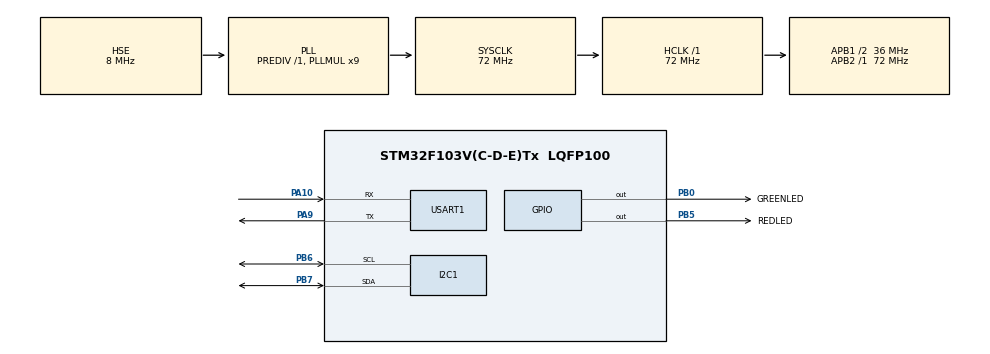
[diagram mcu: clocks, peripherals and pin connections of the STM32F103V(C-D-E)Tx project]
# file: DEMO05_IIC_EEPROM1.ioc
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I2C1.DutyCycle=I2C_DUTYCYCLE_16_9
I2C1.I2C_Mode=I2C_Fast
Mcu.Family=STM32F1
Mcu.Name=STM32F103V(C-D-E)Tx
Mcu.Package=LQFP100
NVIC.PriorityGroup=NVIC_PRIORITYGROUP_4
NVIC.USART1_IRQn=true\:1\:0\:true\:false\:true\:true\:true\:true
OSC_IN.Mode=HSE-External-Oscillator
OSC_IN.Signal=RCC_OSC_IN
OSC_OUT.Mode=HSE-External-Oscillator
OSC_OUT.Signal=RCC_OSC_OUT
PA10.Mode=Asynchronous
PA10.Signal=USART1_RX
PA13.Mode=Serial_Wire
PA13.Signal=SYS_JTMS-SWDIO
PA14.Mode=Serial_Wire
PA14.Signal=SYS_JTCK-SWCLK
PA9.Mode=Asynchronous
PA9.Signal=USART1_TX
PB0.GPIO_Label=GREENLED
PB0.GPIO_PuPd=GPIO_PULLUP
PB0.GPIO_Speed=GPIO_SPEED_FREQ_HIGH
PB0.Signal=GPIO_Output
PB5.GPIO_Label=REDLED
PB5.GPIO_PuPd=GPIO_PULLUP
PB5.GPIO_Speed=GPIO_SPEED_FREQ_HIGH
PB5.Signal=GPIO_Output
PB6.Mode=I2C
PB6.Signal=I2C1_SCL
PB7.Mode=I2C
PB7.Signal=I2C1_SDA
ProjectManager.HeapSize=0x200
ProjectManager.StackSize=0x400
ProjectManager.TargetToolchain=SW4STM32
RCC.AHBFreq_Value=72000000
RCC.APB1CLKDivider=RCC_HCLK_DIV2
RCC.APB1Freq_Value=36000000
RCC.APB1TimFreq_Value=72000000
RCC.APB2Freq_Value=72000000
RCC.APB2TimFreq_Value=72000000
RCC.HCLKFreq_Value=72000000
RCC.PLLMUL=RCC_PLL_MUL9
RCC.PLLSourceVirtual=RCC_PLLSOURCE_HSE
RCC.SYSCLKFreq_VALUE=72000000
RCC.SYSCLKSource=RCC_SYSCLKSOURCE_PLLCLK
RCC.USBFreq_Value=72000000
USART1.VirtualMode=VM_ASYNC
board=custom

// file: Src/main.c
/* USER CODE BEGIN Header */
/**
  ******************************************************************************
  * @file           : main.c
  * @brief          : Main program body
  ******************************************************************************
  * @attention
  *
  * Copyright (c) 2023 STMicroelectronics.
  * All rights reserved.
  *
  * This software is licensed under terms that can be found in the LICENSE file
  * in the root directory of this software component.
  * If no LICENSE file comes with this software, it is provided AS-IS.
  *
  ******************************************************************************
  */
/* USER CODE END Header */
#include "main.h"
#include "i2c.h"
#include "usart.h"
#include "gpio.h"

/* USER CODE BEGIN PD */
#define  DATA_Size                256
#define  EEP_Firstpage           0x00

/* USER CODE END PD */

/* USER CODE BEGIN PV */
uint8_t I2c_Buf_Write[DATA_Size];
uint8_t I2c_Buf_Read[DATA_Size];

/* USER CODE END PV */

void SystemClock_Config(void);

/* USER CODE BEGIN 0 */
uint8_t I2C_Test(void);
/* USER CODE END 0 */

int main(void) {

    /* MCU Configuration--------------------------------------------------------*/

    /* Reset of all peripherals, Initializes the Flash interface and the Systick. */
    HAL_Init();

    /* Configure the system clock */
    SystemClock_Config();

    /* Initialize all configured peripherals */
    MX_GPIO_Init();
    MX_I2C1_Init();
    MX_USART1_UART_Init();
    /* USER CODE BEGIN 2 */
    printf("\r\n 欢迎使用野火  STM32 F103 开发板。\r\n");
    printf("\r\n 这是一个I2C外设(AT24C02)读写测试例程 \r\n");

    if (I2C_Test() == 1) {
        HAL_GPIO_WritePin(GPIOB, GREENLED_Pin, GPIO_PIN_RESET);
    } else {
        HAL_GPIO_WritePin(GPIOB, REDLED_Pin, GPIO_PIN_RESET);
    }
    /* USER CODE END 2 */

    /* Infinite loop */
    while (1) {

    }
}

void SystemClock_Config(void) {
    RCC_OscInitTypeDef RCC_OscInitStruct = {0};
    RCC_ClkInitTypeDef RCC_ClkInitStruct = {0};

    /** Initializes the RCC Oscillators according to the specified parameters
    * in the RCC_OscInitTypeDef structure.
    */
    RCC_OscInitStruct.OscillatorType = RCC_OSCILLATORTYPE_HSE;
    RCC_OscInitStruct.HSEState = RCC_HSE_ON;
    RCC_OscInitStruct.HSEPredivValue = RCC_HSE_PREDIV_DIV1;
    RCC_OscInitStruct.HSIState = RCC_HSI_ON;
    RCC_OscInitStruct.PLL.PLLState = RCC_PLL_ON;
    RCC_OscInitStruct.PLL.PLLSource = RCC_PLLSOURCE_HSE;
    RCC_OscInitStruct.PLL.PLLMUL = RCC_PLL_MUL9;
    if (HAL_RCC_OscConfig(&RCC_OscInitStruct) != HAL_OK) {
        Error_Handler();
    }

    /** Initializes the CPU, AHB and APB buses clocks
    */
    RCC_ClkInitStruct.ClockType = RCC_CLOCKTYPE_HCLK | RCC_CLOCKTYPE_SYSCLK | RCC_CLOCKTYPE_PCLK1 | RCC_CLOCKTYPE_PCLK2;
    RCC_ClkInitStruct.SYSCLKSource = RCC_SYSCLKSOURCE_PLLCLK;
    RCC_ClkInitStruct.AHBCLKDivider = RCC_SYSCLK_DIV1;
    RCC_ClkInitStruct.APB1CLKDivider = RCC_HCLK_DIV2;
    RCC_ClkInitStruct.APB2CLKDivider = RCC_HCLK_DIV1;

    if (HAL_RCC_ClockConfig(&RCC_ClkInitStruct, FLASH_LATENCY_2) != HAL_OK) {
        Error_Handler();
    }
}

/* USER CODE BEGIN 4 */
/**
  * @brief  I2C(AT24C02)读写测试
  * @param  无
  * @retval 正常返回1 ，不正常返回0
  */
uint8_t I2C_Test(void) {
    uint16_t i;

    EEPROM_INFO("写入的数据");
    //填充缓冲
    for (i = 0; i < DATA_Size; i++) {
        I2c_Buf_Write[i] = i;
        //printf("0x%02X ", I2c_Buf_Write[i]);
        printf("0x%02X ", I2c_Buf_Write[i]);
        if (i % 16 == 15)
            printf("\n\r");
    }

    //将I2c_Buf_Write中顺序递增的数据写入EERPOM中
    I2C_EE_BufferWrite(I2c_Buf_Write, EEP_Firstpage, DATA_Size);

    EEPROM_INFO("读出的数据");

    //将EEPROM读出数据顺序保持到I2c_Buf_Read中
    I2C_EE_BufferRead(I2c_Buf_Read, EEP_Firstpage, DATA_Size);

    //将I2c_Buf_Read中的数据通过串口打印
    for (i = 0; i < DATA_Size; i++) {
        if (I2c_Buf_Read[i] != I2c_Buf_Write[i]) {
            printf("0x%02X ", I2c_Buf_Read[i]);
            EEPROM_ERROR("错误:I2C EEPROM写入与读出的数据不一致。");
            return 0;
        }
        printf("0x%02X ", I2c_Buf_Read[i]);
        if (i % 16 == 15)
            printf("\n\r");

    }
    EEPROM_INFO("I2C(AT24C02)读写测试成功。");
    return 1;
}

/* USER CODE END 4 */

void Error_Handler(void) {
    __disable_irq();
    while (1) {
    }
}
